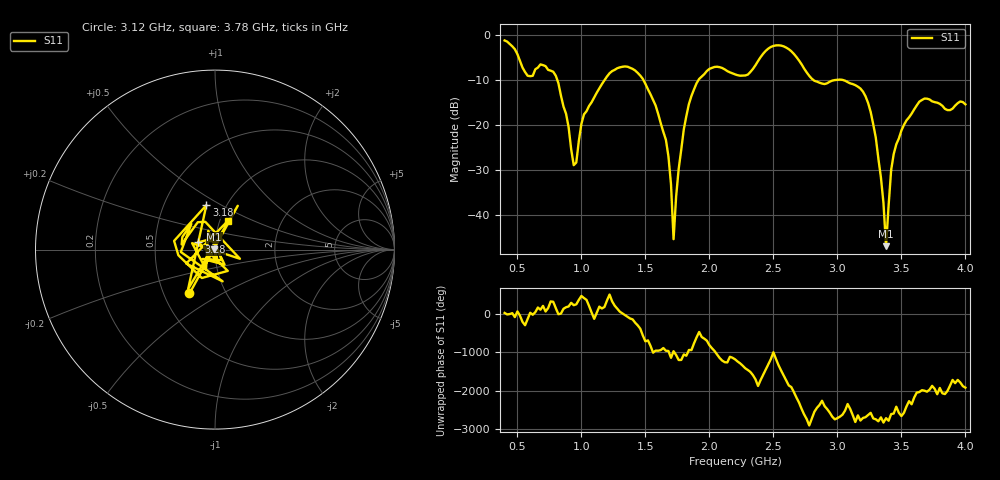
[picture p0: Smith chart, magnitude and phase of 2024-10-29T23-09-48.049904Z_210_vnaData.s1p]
!Created with skrf (http://scikit-rf.org).
# Hz S RI R 50.0
!freq ReS11 ImS11
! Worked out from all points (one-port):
!   181 points, 400 MHz to 4 GHz, reference 50 ohm
!   lowest |S11| = -47.0 dB at 3.38 GHz (marker M1), VSWR 1.01, Z = 49.6 + j0.137 ohm
!   |S11| at or under -10 dB: 810.9 MHz to 1.183 GHz (371.8 MHz wide, 37.3 % of centre); 1.483 GHz to 1.916 GHz (433 MHz wide, 25.5 % of centre); 3.03 GHz to end of sweep (the widest 3 of 4)
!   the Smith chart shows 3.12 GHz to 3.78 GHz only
!   S11 on the Smith chart (normalised r, x): 3.12 GHz: 0.67, -0.36; 3.18 GHz: 0.81, +0.43; 3.28 GHz: 0.83, +0.07; 3.78 GHz: 1.09, +0.36
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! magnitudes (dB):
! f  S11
! 400 MHz  -1.3
! 580 MHz  -9.1
! 780 MHz  -8.2
! 860 MHz  -16.0
! 940 MHz  -29.0
! 1.02 GHz  -17.7
! 1.3 GHz  -7.3
! 1.58 GHz  -15.7
! 1.68 GHz  -27.1
! 1.72 GHz  -45.5
! 1.76 GHz  -29.8
! 1.82 GHz  -18.1
! 1.9 GHz  -10.8
! 2.2 GHz  -8.8
! 2.5 GHz  -2.5
! 2.66 GHz  -4.3
! 2.82 GHz  -10.2
! 3.1 GHz  -10.8
! 3.12 GHz  -11.0
! 3.18 GHz  -12.0
! 3.28 GHz  -19.9
! 3.34 GHz  -31.7
! 3.38 GHz  -47.0
! 3.42 GHz  -30.1
! 3.44 GHz  -26.5
! 3.56 GHz  -18.4
! 3.78 GHz  -15.1
! 4 GHz  -15.5
